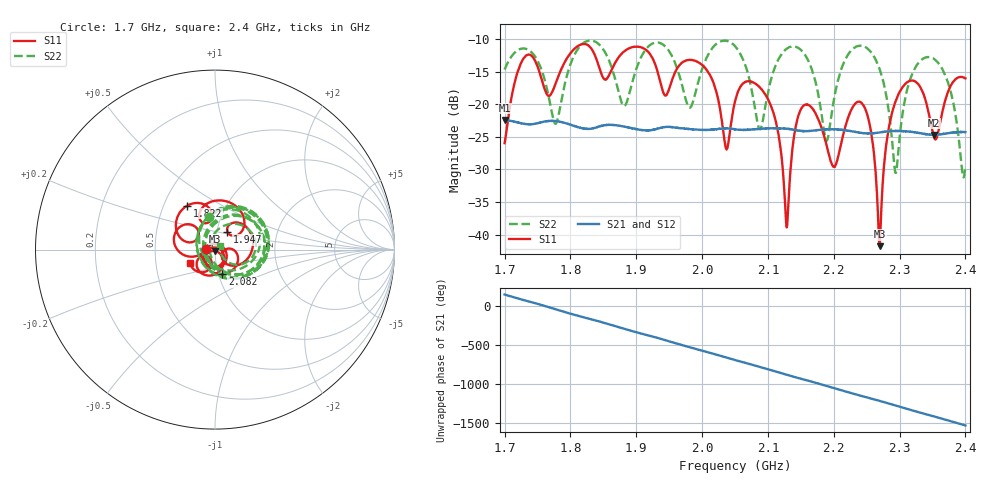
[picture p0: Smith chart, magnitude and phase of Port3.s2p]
# Hz S RI R 50
! CMT, CMT808U, 21440046, 21.4.3/4
! Date: 9/9/2026 12:49:22 AM
! Data: Format (Calibration Info)
! Freq	S11:Re/Im(F2)	S41:Re/Im(F2)	S14:Re/Im(F2)	S44:Re/Im(F2)
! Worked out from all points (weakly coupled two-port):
!   3001 points, 1.7 GHz to 2.4 GHz, reference 50 ohm
!   highest |S21| = -22.43 dB at 1.7 GHz (marker M1); lowest = -24.7 dB at 2.353 GHz (marker M2)
!   lowest |S11| = -41.8 dB at 2.27 GHz (marker M3), VSWR 1.02, Z = 49.9 - j0.806 ohm
!   |S11| at or under -10 dB: start of sweep to end of sweep
!   |S22| runs from -31.2 to -10.2 dB; largest |S21 - S12| = 0.0012
!   S11 on the Smith chart (normalised r, x): 1.7 GHz: 0.90, +0.01; 1.822 GHz: 0.66, +0.35; 1.947 GHz: 1.13, +0.22; 2.082 GHz: 1.04, -0.29; 2.4 GHz: 0.75, -0.11
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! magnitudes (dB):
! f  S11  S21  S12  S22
! 1.7 GHz  -26.0  -22.4  -22.5  -14.7
! 1.7 GHz  -25.7  -22.4  -22.5  -14.6
! 1.731 GHz  -12.7  -23.0  -23.1  -11.5
! 1.778 GHz  -16.8  -22.6  -22.6  -23.0
! 1.817 GHz  -10.8  -23.6  -23.7  -10.9
! 1.822 GHz  -10.8  -23.7  -23.8  -10.5
! 1.882 GHz  -11.9  -23.4  -23.4  -20.3
! 1.934 GHz  -15.4  -23.7  -23.7  -10.5
! 1.947 GHz  -18.4  -23.5  -23.5  -11.5
! 1.981 GHz  -13.2  -23.8  -23.8  -20.5
! 2.037 GHz  -26.9  -23.7  -23.7  -10.3
! 2.05 GHz  -19.6  -23.8  -23.8  -11.1
! 2.082 GHz  -16.9  -23.8  -23.8  -21.6
! 2.128 GHz  -38.8  -23.7  -23.8  -11.5
! 2.167 GHz  -20.5  -24.1  -24.1  -14.7
! 2.189 GHz  -26.4  -23.8  -23.9  -25.6
! 2.245 GHz  -20.2  -24.5  -24.4  -11.1
! 2.27 GHz  -41.8  -24.3  -24.3  -14.6
! 2.284 GHz  -23.6  -24.1  -24.2  -21.0
! 2.295 GHz  -19.4  -24.1  -24.1  -30.5
! 2.353 GHz  -25.2  -24.7  -24.7  -13.1
! 2.4 GHz  -16.0  -24.3  -24.3  -29.7
